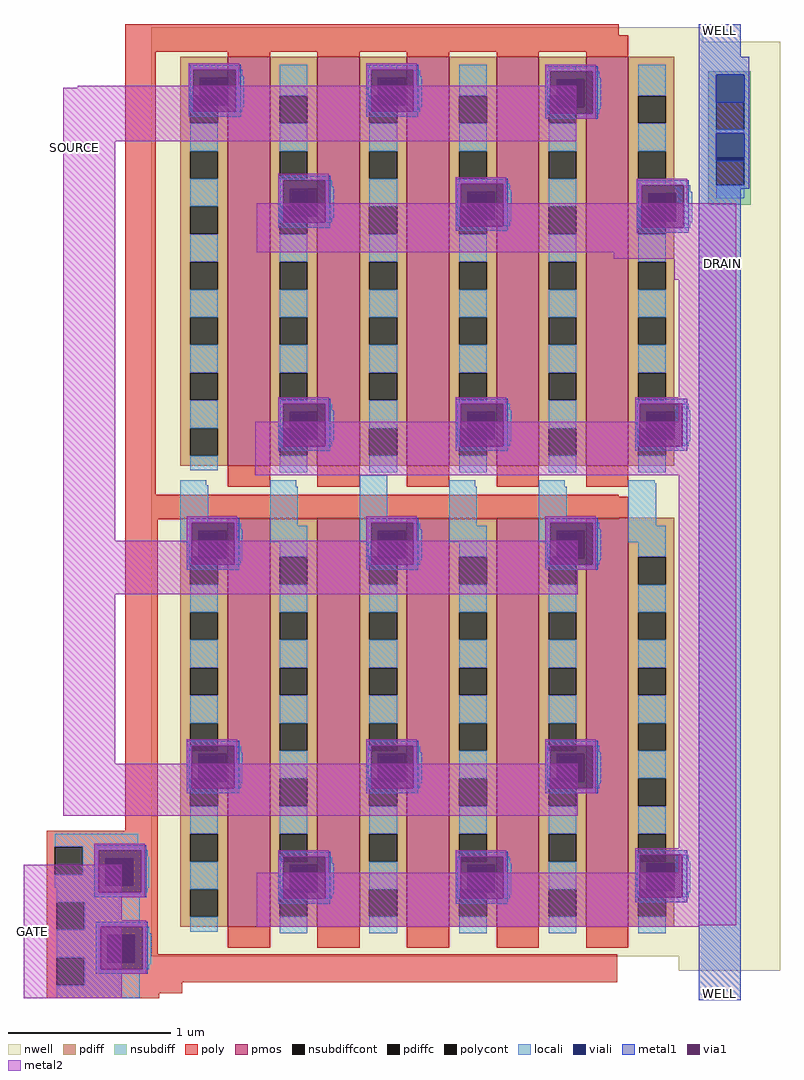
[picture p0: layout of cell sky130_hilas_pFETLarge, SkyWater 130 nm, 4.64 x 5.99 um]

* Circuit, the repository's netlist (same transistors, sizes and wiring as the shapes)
* Copyright 2020 The Hilas PDK Authors
* 
* This file is part of HILAS.
* 
* HILAS is free software: you can redistribute it and/or modify
* it under the terms of the GNU Lesser General Public License as published by
* the Free Software Foundation, version 3 of the License.
* 
* HILAS is distributed in the hope that it will be useful,
* but WITHOUT ANY WARRANTY; without even the implied warranty of
* MERCHANTABILITY or FITNESS FOR A PARTICULAR PURPOSE.  See the
* GNU Lesser General Public License for more details.
* 
* You should have received a copy of the GNU Lesser General Public License
* along with HILAS.  If not, see <https://www.gnu.org/licenses/>.
* 
* Licensed under the Lesser General Public License, Version 3.0 (the "License");
* you may not use this file except in compliance with the License.
* You may obtain a copy of the License at
* 
* https://www.gnu.org/licenses/lgpl-3.0.en.html
* 
* Unless required by applicable law or agreed to in writing, software
* distributed under the License is distributed on an "AS IS" BASIS,
* WITHOUT WARRANTIES OR CONDITIONS OF ANY KIND, either express or implied.
* See the License for the specific language governing permissions and
* limitations under the License.
* 
* SPDX-License-Identifier: LGPL-3.0
* 
* 

* NGSPICE file created from sky130_hilas_pFETLarge.ext - technology: sky130A

.subckt sky130_hilas_pFETmed SUB a_440_n8# w_294_n44# a_388_n34# a_330_n8#
X0 a_440_n8# a_388_n34# a_330_n8# w_294_n44# sky130_fd_pr__pfet_01v8 w=2.51e+06u l=260000u
.ends

.subckt sky130_hilas_pFETLargePart1 sky130_hilas_pFETmed_2/a_388_n34# sky130_hilas_pFETmed_4/a_330_n8#
+ sky130_hilas_pFETmed_1/a_388_n34# sky130_hilas_pFETmed_0/a_388_n34# SUB sky130_hilas_pFETmed_3/a_330_n8#
+ sky130_hilas_pFETmed_2/a_330_n8# sky130_hilas_pFETmed_1/a_330_n8# sky130_hilas_pFETmed_4/a_440_n8#
+ sky130_hilas_pFETmed_4/a_388_n34# sky130_hilas_pFETmed_4/w_294_n44# sky130_hilas_pFETmed_3/a_388_n34#
+ sky130_hilas_pFETmed_3/a_440_n8#
Xsky130_hilas_pFETmed_0 SUB sky130_hilas_pFETmed_1/a_330_n8# sky130_hilas_pFETmed_4/w_294_n44#
+ sky130_hilas_pFETmed_0/a_388_n34# sky130_hilas_pFETmed_4/a_440_n8# sky130_hilas_pFETmed
Xsky130_hilas_pFETmed_2 SUB sky130_hilas_pFETmed_3/a_330_n8# sky130_hilas_pFETmed_4/w_294_n44#
+ sky130_hilas_pFETmed_2/a_388_n34# sky130_hilas_pFETmed_2/a_330_n8# sky130_hilas_pFETmed
Xsky130_hilas_pFETmed_1 SUB sky130_hilas_pFETmed_2/a_330_n8# sky130_hilas_pFETmed_4/w_294_n44#
+ sky130_hilas_pFETmed_1/a_388_n34# sky130_hilas_pFETmed_1/a_330_n8# sky130_hilas_pFETmed
Xsky130_hilas_pFETmed_3 SUB sky130_hilas_pFETmed_3/a_440_n8# sky130_hilas_pFETmed_4/w_294_n44#
+ sky130_hilas_pFETmed_3/a_388_n34# sky130_hilas_pFETmed_3/a_330_n8# sky130_hilas_pFETmed
Xsky130_hilas_pFETmed_4 SUB sky130_hilas_pFETmed_4/a_440_n8# sky130_hilas_pFETmed_4/w_294_n44#
+ sky130_hilas_pFETmed_4/a_388_n34# sky130_hilas_pFETmed_4/a_330_n8# sky130_hilas_pFETmed
.ends

.subckt sky130_hilas_pFETLarge GATE SOURCE DRAIN WELL
Xsky130_hilas_pFETLargePart1_0 GATE SOURCE GATE GATE SUB SOURCE DRAIN SOURCE DRAIN
+ GATE WELL GATE DRAIN sky130_hilas_pFETLargePart1
Xsky130_hilas_pFETLargePart1_1 GATE SOURCE GATE GATE SUB SOURCE DRAIN SOURCE DRAIN
+ GATE WELL GATE DRAIN sky130_hilas_pFETLargePart1
.ends

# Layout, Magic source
magic
tech sky130A
<< nwell >>
rect 81 309 149 310
rect 81 306 157 309
rect 364 306 365 310
rect 402 18 464 588
<< nsubdiff >>
rect 420 551 446 570
rect 420 534 425 551
rect 442 534 446 551
rect 420 517 446 534
rect 420 500 425 517
rect 442 500 446 517
rect 420 488 446 500
<< nsubdiffcont >>
rect 425 534 442 551
rect 425 500 442 517
<< poly >>
rect 62 582 365 599
rect 62 310 81 582
rect 62 295 365 310
rect 62 104 82 295
rect 14 94 82 104
rect 14 77 19 94
rect 36 77 82 94
rect 14 60 82 77
rect 14 43 20 60
rect 37 43 82 60
rect 14 28 82 43
rect 14 26 364 28
rect 14 9 20 26
rect 37 11 364 26
rect 37 9 97 11
rect 14 4 97 9
rect 14 1 83 4
<< polycont >>
rect 19 77 36 94
rect 20 43 37 60
rect 20 9 37 26
<< locali >>
rect 425 532 442 534
rect 425 492 442 500
rect 96 316 112 319
rect 96 282 113 316
rect 151 315 167 319
rect 151 282 168 315
rect 206 282 223 322
rect 261 315 277 319
rect 316 315 332 319
rect 371 317 387 319
rect 261 282 278 315
rect 316 282 333 315
rect 371 282 388 317
rect 96 281 112 282
rect 151 281 167 282
rect 206 281 222 282
rect 261 281 277 282
rect 316 281 332 282
rect 371 281 387 282
rect 19 94 70 102
rect 36 77 71 94
rect 19 69 71 77
rect 20 60 71 69
rect 37 43 71 60
rect 20 26 71 43
rect 37 9 71 26
rect 20 1 71 9
<< viali >>
rect 425 551 442 568
rect 425 517 442 532
rect 425 515 442 517
<< metal1 >>
rect 414 579 440 599
rect 414 568 445 579
rect 414 551 425 568
rect 442 551 445 568
rect 414 532 445 551
rect 414 515 425 532
rect 442 515 445 532
rect 414 498 445 515
rect 414 0 440 498
<< metal2 >>
rect 33 560 339 561
rect 24 527 339 560
rect 24 282 56 527
rect 143 459 437 489
rect 362 455 437 459
rect 399 442 437 455
rect 402 355 437 442
rect 142 322 437 355
rect 24 249 340 282
rect 24 145 56 249
rect 24 113 340 145
rect 0 1 60 83
rect 402 78 437 322
rect 143 46 437 78
rect 143 45 414 46
use sky130_hilas_li2m2  sky130_hilas_li2m2_10
transform 1 0 210 0 1 127
box 0 0 34 33
use sky130_hilas_li2m2  sky130_hilas_li2m2_6
transform 1 0 320 0 1 127
box 0 0 34 33
use sky130_hilas_li2m2  sky130_hilas_li2m2_15
transform 1 0 156 0 1 59
box 0 0 34 33
use sky130_hilas_li2m2  sky130_hilas_li2m2_17
transform 1 0 265 0 1 59
box 0 0 34 33
use sky130_hilas_li2m2  sky130_hilas_li2m2_19
transform 1 0 375 0 1 60
box 0 0 34 33
use sky130_hilas_li2m2  sky130_hilas_li2m2_9
transform 1 0 100 0 1 127
box 0 0 34 33
use sky130_hilas_li2m2  sky130_hilas_li2m2_7
transform 1 0 44 0 1 16
box 0 0 34 33
use sky130_hilas_li2m2  sky130_hilas_li2m2_8
transform 1 0 43 0 1 63
box 0 0 34 33
use sky130_hilas_li2m2  sky130_hilas_li2m2_1
transform 1 0 210 0 1 264
box 0 0 34 33
use sky130_hilas_li2m2  sky130_hilas_li2m2_2
transform 1 0 320 0 1 264
box 0 0 34 33
use sky130_hilas_li2m2  sky130_hilas_li2m2_0
transform 1 0 100 0 1 264
box 0 0 34 33
use sky130_hilas_li2m2  sky130_hilas_li2m2_3
transform 1 0 265 0 1 337
box 0 0 34 33
use sky130_hilas_li2m2  sky130_hilas_li2m2_4
transform 1 0 156 0 1 337
box 0 0 34 33
use sky130_hilas_li2m2  sky130_hilas_li2m2_5
transform 1 0 375 0 1 337
box 0 0 34 33
use sky130_hilas_li2m2  sky130_hilas_li2m2_14
transform 1 0 210 0 1 542
box 0 0 34 33
use sky130_hilas_li2m2  sky130_hilas_li2m2_18
transform 1 0 320 0 1 541
box 0 0 34 33
use sky130_hilas_li2m2  sky130_hilas_li2m2_11
transform 1 0 101 0 1 542
box 0 0 34 33
use sky130_hilas_li2m2  sky130_hilas_li2m2_16
transform 1 0 156 0 1 474
box 0 0 34 33
use sky130_hilas_li2m2  sky130_hilas_li2m2_12
transform 1 0 265 0 1 472
box 0 0 34 33
use sky130_hilas_li2m2  sky130_hilas_li2m2_13
transform 1 0 376 0 1 471
box 0 0 34 33
use sky130_hilas_pFETLargePart1  sky130_hilas_pFETLargePart1_1
transform 1 0 78 0 1 27
box 0 0 339 287
use sky130_hilas_pFETLargePart1  sky130_hilas_pFETLargePart1_0
transform 1 0 78 0 1 310
box 0 0 339 287
<< labels >>
rlabel metal2 422 415 436 489 0 DRAIN
port 3 nsew analog default
rlabel metal2 24 486 38 560 0 SOURCE
port 2 nsew analog default
rlabel metal2 0 1 10 83 0 GATE
port 1 nsew
rlabel metal1 414 591 440 599 0 WELL
port 4 nsew analog default
rlabel metal1 414 0 440 8 0 WELL
port 4 nsew analog default
<< properties >>
string LEFsite unithd
string LEFclass CORE
string LEFsymmetry X Y R90
<< end >>

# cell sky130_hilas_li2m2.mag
magic
tech sky130A
<< locali >>
rect 1 25 33 29
rect 1 24 34 25
rect 1 7 7 24
rect 24 7 34 24
rect 1 6 34 7
rect 1 3 33 6
<< viali >>
rect 7 7 24 24
<< metal1 >>
rect 0 29 32 32
rect 0 3 3 29
rect 29 3 32 29
rect 0 0 32 3
<< via1 >>
rect 3 24 29 29
rect 3 7 7 24
rect 7 7 24 24
rect 24 7 29 24
rect 3 3 29 7
<< metal2 >>
rect 0 29 31 33
rect 0 3 3 29
rect 29 3 31 29
rect 0 0 31 3
<< properties >>
string LEFsite unithd
string LEFclass CORE
string LEFsymmetry X Y R90
<< end >>

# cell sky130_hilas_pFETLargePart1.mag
magic
tech sky130A
use sky130_hilas_pFETmed  sky130_hilas_pFETmed_3
transform 1 0 220 0 1 0
box 0 0 119 287
use sky130_hilas_pFETmed  sky130_hilas_pFETmed_4
transform 1 0 0 0 1 0
box 0 0 119 287
use sky130_hilas_pFETmed  sky130_hilas_pFETmed_0
transform 1 0 55 0 1 0
box 0 0 119 287
use sky130_hilas_pFETmed  sky130_hilas_pFETmed_1
transform 1 0 110 0 1 0
box 0 0 119 287
use sky130_hilas_pFETmed  sky130_hilas_pFETmed_2
transform 1 0 165 0 1 0
box 0 0 119 287
<< properties >>
string LEFsite unithd
string LEFclass CORE
string LEFsymmetry X Y R90
<< end >>

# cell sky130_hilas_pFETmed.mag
magic
tech sky130A
<< nwell >>
rect 0 0 119 287
<< pmos >>
rect 47 18 73 269
<< pdiff >>
rect 18 245 47 269
rect 18 228 24 245
rect 41 228 47 245
rect 18 211 47 228
rect 18 194 24 211
rect 41 194 47 211
rect 18 177 47 194
rect 18 160 24 177
rect 41 160 47 177
rect 18 143 47 160
rect 18 126 24 143
rect 41 126 47 143
rect 18 109 47 126
rect 18 92 24 109
rect 41 92 47 109
rect 18 75 47 92
rect 18 58 24 75
rect 41 58 47 75
rect 18 41 47 58
rect 18 24 24 41
rect 41 24 47 41
rect 18 18 47 24
rect 73 245 101 269
rect 73 228 79 245
rect 96 228 101 245
rect 73 211 101 228
rect 73 194 79 211
rect 96 194 101 211
rect 73 177 101 194
rect 73 160 79 177
rect 96 160 101 177
rect 73 143 101 160
rect 73 126 79 143
rect 96 126 101 143
rect 73 109 101 126
rect 73 92 79 109
rect 96 92 101 109
rect 73 75 101 92
rect 73 58 79 75
rect 96 58 101 75
rect 73 41 101 58
rect 73 24 79 41
rect 96 24 101 41
rect 73 18 101 24
<< pdiffc >>
rect 24 228 41 245
rect 24 194 41 211
rect 24 160 41 177
rect 24 126 41 143
rect 24 92 41 109
rect 24 58 41 75
rect 24 24 41 41
rect 79 228 96 245
rect 79 194 96 211
rect 79 160 96 177
rect 79 126 96 143
rect 79 92 96 109
rect 79 58 96 75
rect 79 24 96 41
<< poly >>
rect 47 269 73 282
rect 47 5 73 18
<< locali >>
rect 24 245 41 264
rect 24 211 41 228
rect 24 177 41 194
rect 24 143 41 160
rect 24 109 41 126
rect 24 75 41 92
rect 24 41 41 58
rect 24 15 41 24
rect 79 245 96 264
rect 79 211 96 228
rect 79 177 96 194
rect 79 143 96 160
rect 79 109 96 126
rect 79 75 96 92
rect 79 41 96 58
rect 79 14 96 24
<< properties >>
string LEFsite unithd
string LEFclass CORE
string LEFsymmetry X Y R90
<< end >>
